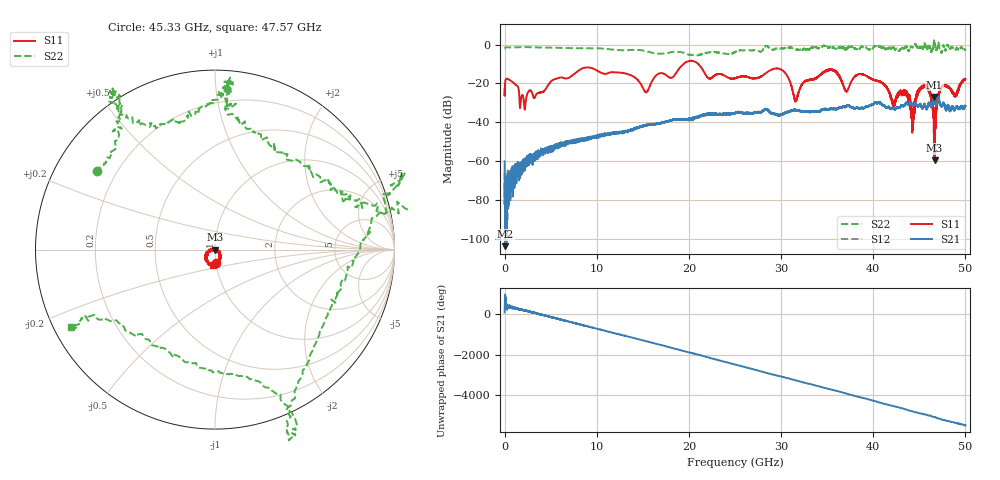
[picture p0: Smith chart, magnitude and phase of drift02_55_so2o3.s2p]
!Created with skrf (http://scikit-rf.org).
# Hz S RI R 50.0
!freq ReS11 ImS11 ReS21 ImS21 ReS12 ImS12 ReS22 ImS22
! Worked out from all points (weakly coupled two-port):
!   10001 points, 300 kHz to 50 GHz, reference 50 ohm
!   highest |S21| = -26.95 dB at 46.62 GHz (marker M1); lowest = -103.9 dB at 85.3 MHz (marker M2)
!   lowest |S11| = -59.7 dB at 46.66 GHz (marker M3), VSWR 1.00, Z = 50 - j0.104 ohm
!   |S11| at or under -10 dB: start of sweep to 19.42 GHz; 21 GHz to end of sweep
!   |S22| runs from -5.7 to 2.1 dB; largest |S21 - S12| = 0.0035
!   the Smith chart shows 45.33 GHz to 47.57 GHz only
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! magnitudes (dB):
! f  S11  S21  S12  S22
! 300 kHz  -22.8  -60.2  -66.2  -2.1
! 85.3 MHz  -18.6  -103.9  -86.3  -1.5
! 2.19 GHz  -33.5  -64.0  -61.4  -1.3
! 8.335 GHz  -12.5  -48.8  -48.7  -1.9
! 15.34 GHz  -24.6  -41.5  -41.6  -3.3
! 16.67 GHz  -15.1  -40.6  -40.8  -4.7
! 20.3 GHz  -8.4  -38.1  -38.1  -5.5
! 25 GHz  -17.4  -35.3  -35.4  -3.9
! 29.83 GHz  -12.6  -36.6  -36.6  -2.0
! 31.59 GHz  -29.2  -33.8  -34.0  -2.4
! 33.34 GHz  -18.0  -34.4  -34.5  -1.5
! 35.61 GHz  -13.1  -33.0  -33.1  -1.5
! 37.1 GHz  -24.2  -31.8  -31.6  -2.2
! 38.75 GHz  -15.2  -32.6  -32.7  -1.0
! 41.67 GHz  -23.7  -32.3  -32.1  -1.9
! 43.56 GHz  -26.2  -30.3  -30.0  -1.1
! 44.24 GHz  -40.8  -31.0  -31.0  -1.3
! 45.74 GHz  -21.4  -32.9  -32.9  -1.5
! 46.62 GHz  -54.2  -26.9  -26.8  2.0
! 46.66 GHz  -59.7  -28.1  -28.0  1.0
! 47.49 GHz  -21.6  -31.3  -31.4  -3.0
! 50 GHz  -17.9  -31.7  -31.6  -2.6
